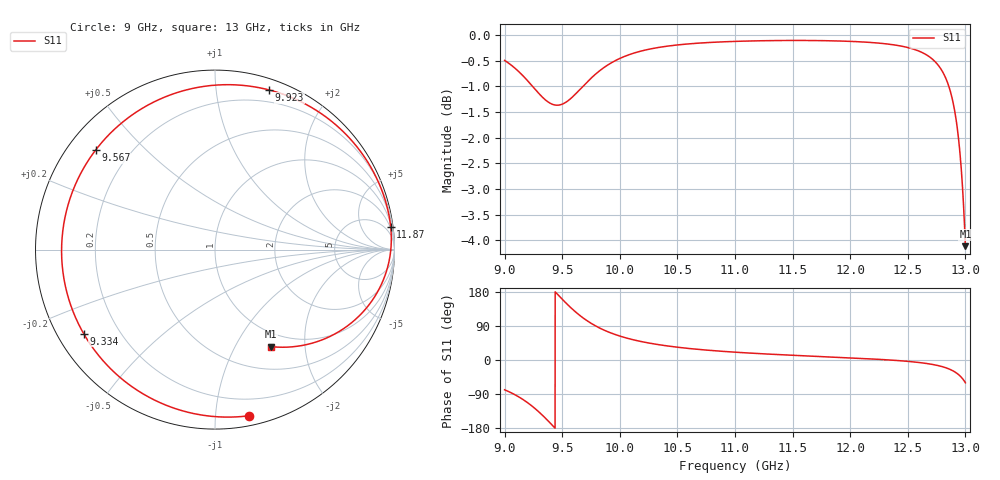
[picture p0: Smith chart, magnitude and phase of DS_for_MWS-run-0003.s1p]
! TOUCHSTONE file generated by CST DESIGN STUDIO
! Date and time: Tue Feb  4 18:40:39 2025
! Project name: C:\Work\MatlabApps\UnitCellOptimizationMatlab\CST\unitcell.cst
! Tree item: Tasks\Sweep1\SPara1\S-Parameters
! Header version: 2024
! Port assignment regex: !\s*Touchstone port\s*([0-9]+)\s*=\s*(CST MWS port|CST DES external port|CST DES block port)\s*(.+)\s* \(\"(.*)\"\)(\s*mode\s*([0-9]+))?.*
! Touchstone port assignment:
! Touchstone port 1 = CST DES external port 1 ("")
# GHz S MA R 50
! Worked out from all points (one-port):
!   4001 points, 9 GHz to 13 GHz, reference 50 ohm
!   lowest |S11| = -4.1 dB at 13 GHz (marker M1), VSWR 4.30, Z = 39.8 - j70.3 ohm
!   |S11| at or under -10 dB: nowhere
!   S11 on the Smith chart (normalised r, x): 9 GHz: 0.07, -1.22; 9.334 GHz: 0.08, -0.29; 9.567 GHz: 0.08, +0.36; 9.923 GHz: 0.09, +1.39; 11.87 GHz: 2, +15; 13 GHz: 0.80, -1.41
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9  0.9448 -78.6
9.103  0.9257 -93.9
9.186  0.9061 -109.7
9.261  0.8865 -127.3
9.334  0.8687 -147.4
9.378  0.8606 -160.8
9.419  0.8558 -173.7
9.459  0.8544 173.4
9.5  0.8564 160.4
9.567  0.8659 140.2
9.641  0.8821 120.5
9.719  0.9007 103.0
9.808  0.9198 87.0
9.923  0.9392 71.3
10  0.9489 63.2
10.102  0.9588 54.5
10.216  0.9667 46.8
10.5  0.9781 33.7
11  0.986 20.6
11.5  0.988 12.5
11.87  0.9871 7.4
12  0.986 5.6
12.5  0.9725 -3.6
12.716  0.947 -11.8
12.844  0.8995 -22.0
12.889  0.8638 -28.1
12.927  0.8158 -35.2
13  0.6227 -60.2
